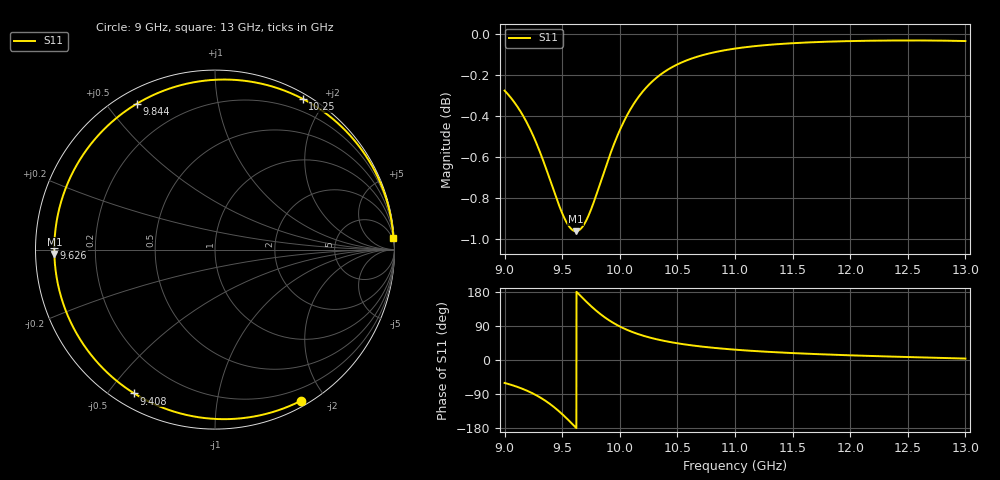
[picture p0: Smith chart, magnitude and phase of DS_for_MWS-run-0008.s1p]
! TOUCHSTONE file generated by CST DESIGN STUDIO
! Date and time: Tue Feb  4 18:46:46 2025
! Project name: C:\Work\MatlabApps\UnitCellOptimizationMatlab\CST\unitcell.cst
! Tree item: Tasks\Sweep1\SPara1\S-Parameters
! Header version: 2024
! Port assignment regex: !\s*Touchstone port\s*([0-9]+)\s*=\s*(CST MWS port|CST DES external port|CST DES block port)\s*(.+)\s* \(\"(.*)\"\)(\s*mode\s*([0-9]+))?.*
! Touchstone port assignment:
! Touchstone port 1 = CST DES external port 1 ("")
# GHz S MA R 50
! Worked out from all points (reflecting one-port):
!   4001 points, 9 GHz to 13 GHz, reference 50 ohm
!   lowest |S11| = -1.0 dB at 9.619 GHz (marker M1), VSWR 18.11, Z = 2.76 - j0.664 ohm
!   phase of S11 starts at -61 deg and turns -296 deg over the sweep
!   S11 on the Smith chart (normalised r, x): 9 GHz: 0.06, -1.71; 9.408 GHz: 0.06, -0.58; 9.626 GHz: 0.06, +0.01; 9.844 GHz: 0.05, +0.60; 10.25 GHz: 0.06, +1.74; 13 GHz: 2, +30
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9  0.9686 -60.5
9.054  0.9648 -65.3
9.127  0.9585 -72.8
9.19  0.9518 -80.4
9.252  0.9439 -89.3
9.335  0.9314 -103.8
9.408  0.9191 -119.3
9.454  0.9114 -130.5
9.5  0.9044 -142.9
9.562  0.8976 -161.0
9.619  0.8953 -178.5
9.626  0.8954 179.4
9.671  0.8972 165.5
9.719  0.902 151.1
9.782  0.9113 133.6
9.844  0.9222 118.2
9.917  0.9348 102.8
10  0.9474 88.5
10.121  0.9615 72.5
10.253  0.9719 59.8
10.368  0.978 51.5
10.5  0.9829 44.1
10.72  0.9881 35.1
11  0.9917 27.2
11.5  0.9947 18.3
12  0.9959 12.4
12.5  0.9962 7.8
13  0.9959 3.8
